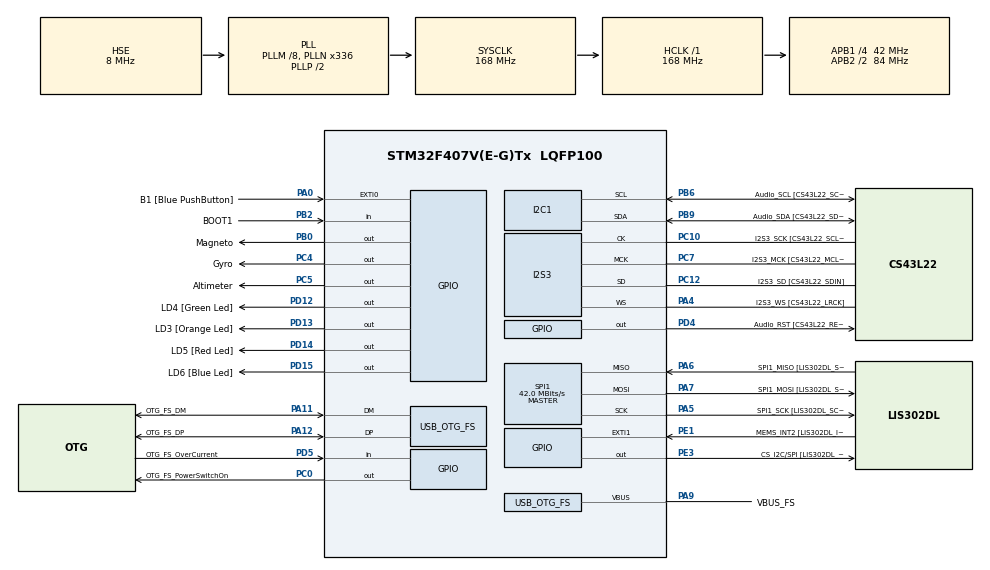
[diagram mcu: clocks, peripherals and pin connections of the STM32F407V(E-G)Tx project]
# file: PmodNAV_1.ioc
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I2S3.AudioFreq-Half_Duplex_Master=I2S_AUDIOFREQ_96K
I2S3.ErrorAudioFreq=-2.34 %
I2S3.ErrorAudioFreq-Half_Duplex_Master=0.8 %
I2S3.FullDuplexMode=I2S_FULLDUPLEXMODE_DISABLE
I2S3.Instance=SPI$Index
I2S3.RealAudioFreq=93.75 KHz
I2S3.RealAudioFreq-Half_Duplex_Master=96.774 KHz
I2S3.VirtualMode=I2S_MODE_MASTER
Mcu.Family=STM32F4
Mcu.Name=STM32F407V(E-G)Tx
Mcu.Package=LQFP100
NVIC.OTG_FS_IRQn=true\:0\:0\:false\:false\:true\:true\:true\:true
NVIC.PriorityGroup=NVIC_PRIORITYGROUP_0
PA0-WKUP.GPIO_Label=B1 [Blue PushButton]
PA0-WKUP.GPIO_ModeDefaultEXTI=GPIO_MODE_EVT_RISING
PA0-WKUP.GPIO_PuPd=GPIO_NOPULL
PA0-WKUP.Signal=GPXTI0
PA10.GPIO_Label=OTG_FS_ID
PA10.GPIO_Mode=GPIO_MODE_AF_PP
PA10.GPIO_PuPd=GPIO_NOPULL
PA10.GPIO_Speed=GPIO_SPEED_FREQ_LOW
PA10.Signal=USB_OTG_FS_ID
PA11.GPIO_Label=OTG_FS_DM
PA11.GPIO_Mode=GPIO_MODE_AF_PP
PA11.GPIO_PuPd=GPIO_NOPULL
PA11.GPIO_Speed=GPIO_SPEED_FREQ_LOW
PA11.Mode=Host_Only
PA11.Signal=USB_OTG_FS_DM
PA12.GPIO_Label=OTG_FS_DP
PA12.GPIO_Mode=GPIO_MODE_AF_PP
PA12.GPIO_PuPd=GPIO_NOPULL
PA12.GPIO_Speed=GPIO_SPEED_FREQ_LOW
PA12.Mode=Host_Only
PA12.Signal=USB_OTG_FS_DP
PA13.GPIO_Label=SWDIO
PA13.Mode=Serial_Wire
PA13.Signal=SYS_JTMS-SWDIO
PA14.GPIO_Label=SWCLK
PA14.Mode=Serial_Wire
PA14.Signal=SYS_JTCK-SWCLK
PA4.GPIO_Label=I2S3_WS [CS43L22_LRCK]
PA4.GPIO_Mode=GPIO_MODE_AF_PP
PA4.GPIO_PuPd=GPIO_NOPULL
PA4.GPIO_Speed=GPIO_SPEED_FREQ_LOW
PA4.Mode=Half_Duplex_Master
PA4.Signal=I2S3_WS
PA5.GPIO_Label=SPI1_SCK [LIS302DL_SCL/SPC]
PA5.GPIO_Mode=GPIO_MODE_AF_PP
PA5.GPIO_PuPd=GPIO_NOPULL
PA5.GPIO_Speed=GPIO_SPEED_FREQ_LOW
PA5.Mode=Full_Duplex_Master
PA5.Signal=SPI1_SCK
PA6.GPIO_Label=SPI1_MISO [LIS302DL_SDO]
PA6.GPIO_Mode=GPIO_MODE_AF_PP
PA6.GPIO_PuPd=GPIO_NOPULL
PA6.GPIO_Speed=GPIO_SPEED_FREQ_LOW
PA6.Mode=Full_Duplex_Master
PA6.Signal=SPI1_MISO
PA7.GPIO_Label=SPI1_MOSI [LIS302DL_SDA/SDI/SDO]
PA7.GPIO_Mode=GPIO_MODE_AF_PP
PA7.GPIO_PuPd=GPIO_NOPULL
PA7.GPIO_Speed=GPIO_SPEED_FREQ_LOW
PA7.Mode=Full_Duplex_Master
PA7.Signal=SPI1_MOSI
PA9.GPIO_Label=VBUS_FS
PA9.GPIO_Mode=GPIO_MODE_INPUT
PA9.GPIO_PuPd=GPIO_NOPULL
PA9.Mode=Activate_VBUS
PA9.Signal=USB_OTG_FS_VBUS
PB0.GPIO_Label=Magneto
PB0.Signal=GPIO_Output
PB10.GPIO_Label=CLK_IN [MP45DT02_CLK]
PB10.GPIO_Mode=GPIO_MODE_AF_PP
PB10.GPIO_PuPd=GPIO_NOPULL
PB10.GPIO_Speed=GPIO_SPEED_FREQ_LOW
PB10.Signal=I2S2_CK
PB2.GPIO_Label=BOOT1
PB2.GPIO_Mode=GPIO_MODE_INPUT
PB2.GPIO_PuPd=GPIO_NOPULL
PB2.Signal=GPIO_Input
PB3.GPIO_Label=SWO
PB3.Signal=SYS_JTDO-SWO
PB6.GPIO_Label=Audio_SCL [CS43L22_SCL]
PB6.GPIO_Mode=GPIO_MODE_AF_OD
PB6.GPIO_Pu=GPIO_PULLUP
PB6.GPIO_PuPd=GPIO_NOPULL
PB6.GPIO_Speed=GPIO_SPEED_FREQ_LOW
PB6.Mode=I2C
PB6.Signal=I2C1_SCL
PB9.GPIO_Label=Audio_SDA [CS43L22_SDA]
PB9.GPIO_Mode=GPIO_MODE_AF_OD
PB9.GPIO_Pu=GPIO_PULLUP
PB9.GPIO_PuPd=GPIO_NOPULL
PB9.GPIO_Speed=GPIO_SPEED_FREQ_LOW
PB9.Mode=I2C
PB9.Signal=I2C1_SDA
PC0.GPIO_Label=OTG_FS_PowerSwitchOn
PC0.GPIO_PuPd=GPIO_NOPULL
PC0.GPIO_Speed=GPIO_SPEED_FREQ_LOW
PC0.PinState=GPIO_PIN_SET
PC0.Signal=GPIO_Output
PC10.GPIO_Label=I2S3_SCK [CS43L22_SCLK]
PC10.GPIO_Mode=GPIO_MODE_AF_PP
PC10.GPIO_PuPd=GPIO_NOPULL
PC10.GPIO_Speed=GPIO_SPEED_FREQ_LOW
PC10.Mode=Half_Duplex_Master
PC10.Signal=I2S3_CK
PC12.GPIO_Label=I2S3_SD [CS43L22_SDIN]
PC12.GPIO_Mode=GPIO_MODE_AF_PP
PC12.GPIO_PuPd=GPIO_NOPULL
PC12.GPIO_Speed=GPIO_SPEED_FREQ_LOW
PC12.Mode=Half_Duplex_Master
PC12.Signal=I2S3_SD
PC14-OSC32_IN.GPIO_Label=PC14-OSC32_IN
PC14-OSC32_IN.Mode=LSE-External-Oscillator
PC14-OSC32_IN.Signal=RCC_OSC32_IN
PC15-OSC32_OUT.GPIO_Label=PC15-OSC32_OUT
PC15-OSC32_OUT.Mode=LSE-External-Oscillator
PC15-OSC32_OUT.Signal=RCC_OSC32_OUT
PC3.GPIO_Label=PDM_OUT [MP45DT02_DOUT]
PC3.GPIO_Mode=GPIO_MODE_AF_PP
PC3.GPIO_PuPd=GPIO_NOPULL
PC3.GPIO_Speed=GPIO_SPEED_FREQ_LOW
PC3.Signal=I2S2_SD
PC4.GPIO_Label=Gyro
PC4.Signal=GPIO_Output
PC5.GPIO_Label=Altimeter
PC5.Signal=GPIO_Output
PC7.GPIO_Label=I2S3_MCK [CS43L22_MCLK]
PC7.GPIO_Mode=GPIO_MODE_AF_PP
PC7.GPIO_PuPd=GPIO_NOPULL
PC7.GPIO_Speed=GPIO_SPEED_FREQ_LOW
PC7.Mode=Master_Clock_Activated
PC7.Signal=I2S3_MCK
PD12.GPIO_Label=LD4 [Green Led]
PD12.GPIO_PuPd=GPIO_NOPULL
PD12.GPIO_Speed=GPIO_SPEED_FREQ_LOW
PD12.Signal=GPIO_Output
PD13.GPIO_Label=LD3 [Orange Led]
PD13.GPIO_PuPd=GPIO_NOPULL
PD13.GPIO_Speed=GPIO_SPEED_FREQ_LOW
PD13.Signal=GPIO_Output
PD14.GPIO_Label=LD5 [Red Led]
PD14.GPIO_PuPd=GPIO_NOPULL
PD14.GPIO_Speed=GPIO_SPEED_FREQ_LOW
PD14.Signal=GPIO_Output
PD15.GPIO_Label=LD6 [Blue Led]
PD15.GPIO_PuPd=GPIO_NOPULL
PD15.GPIO_Speed=GPIO_SPEED_FREQ_LOW
PD15.Signal=GPIO_Output
PD4.GPIO_Label=Audio_RST [CS43L22_RESET]
PD4.GPIO_PuPd=GPIO_NOPULL
PD4.GPIO_Speed=GPIO_SPEED_FREQ_LOW
PD4.Signal=GPIO_Output
PD5.GPIO_Label=OTG_FS_OverCurrent
PD5.GPIO_Mode=GPIO_MODE_INPUT
PD5.GPIO_PuPd=GPIO_NOPULL
PD5.Signal=GPIO_Input
PE1.GPIO_Label=MEMS_INT2 [LIS302DL_INT2]
PE1.GPIO_ModeDefaultEXTI=GPIO_MODE_EVT_RISING
PE1.GPIO_PuPd=GPIO_NOPULL
PE1.Signal=GPXTI1
PE3.GPIO_Label=CS_I2C/SPI [LIS302DL_CS_I2C/SPI]
PE3.GPIO_PuPd=GPIO_NOPULL
PE3.GPIO_Speed=GPIO_SPEED_FREQ_LOW
PE3.Signal=GPIO_Output
PH0-OSC_IN.GPIO_Label=PH0-OSC_IN
PH0-OSC_IN.Mode=HSE-External-Oscillator
PH0-OSC_IN.Signal=RCC_OSC_IN
PH1-OSC_OUT.GPIO_Label=PH1-OSC_OUT
PH1-OSC_OUT.Mode=HSE-External-Oscillator
PH1-OSC_OUT.Signal=RCC_OSC_OUT
ProjectManager.HeapSize=0x200
ProjectManager.StackSize=0x400
ProjectManager.TargetToolchain=STM32CubeIDE
RCC.48MHZClocksFreq_Value=48000000
RCC.AHBFreq_Value=168000000
RCC.APB1CLKDivider=RCC_HCLK_DIV4
RCC.APB1Freq_Value=42000000
RCC.APB1TimFreq_Value=84000000
RCC.APB2CLKDivider=RCC_HCLK_DIV2
RCC.APB2Freq_Value=84000000
RCC.APB2TimFreq_Value=168000000
RCC.CortexFreq_Value=168000000
RCC.HCLKFreq_Value=168000000
RCC.HSE_VALUE=8000000
RCC.HSI_VALUE=16000000
RCC.PLLM=8
RCC.PLLN=336
RCC.PLLQ=7
RCC.SYSCLKFreq_VALUE=168000000
RCC.SYSCLKSource=RCC_SYSCLKSOURCE_PLLCLK
RCC.VCOOutputFreq_Value=336000000
SPI1.CLKPolarity=SPI_POLARITY_HIGH
SPI1.CalculateBaudRate=42.0 MBits/s
SPI1.Direction=SPI_DIRECTION_2LINES
SPI1.Mode=SPI_MODE_MASTER
SPI1.VirtualType=VM_MASTER
USB_HOST.BSP.number=1
USB_HOST.USBH_HandleTypeDef-CDC_FS=hUsbHostFS
USB_HOST.VirtualModeFS=Cdc
USB_HOST0.BSP.STBoard=false
USB_HOST0.BSP.api=Unknown
USB_HOST0.BSP.instance=PC0
USB_HOST0.BSP.ip=GPIO
USB_HOST0.BSP.mode=Output
USB_HOST0.BSP.name=Drive_VBUS_FS
USB_HOST0.BSP.solution=PC0
USB_OTG_FS.VirtualMode=Host_Only
USB_OTG_FS.phy_itface=HCD_PHY_EMBEDDED
VP_USB_HOST_VS_USB_HOST_CDC_FS.Mode=CDC_FS
board=STM32F407G-DISC1

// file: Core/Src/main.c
/* USER CODE BEGIN Header */
/**
  ******************************************************************************
  * @file           : main.c
  * @brief          : Main program body
  ******************************************************************************
  * @attention
  *
  * Copyright (c) 2023 STMicroelectronics.
  * All rights reserved.
  *
  * This software is licensed under terms that can be found in the LICENSE file
  * in the root directory of this software component.
  * If no LICENSE file comes with this software, it is provided AS-IS.
  *
  ******************************************************************************
  */
/* USER CODE END Header */
#include "main.h"
#include "usb_host.h"

/* USER CODE BEGIN PTD */
#define Gyro_pin GPIO_PIN_4
#define Gyro_GPIO_Port GPIOC
/* USER CODE END PTD */

/* USER CODE BEGIN PD */
#define DECLINATION -5.55
#define PRINT_CALCULATED
/* USER CODE END PD */

/* USER CODE BEGIN PM */
#define LSM9DS1_AG 0x6B
/* USER CODE END PM */

I2C_HandleTypeDef hi2c1;

I2S_HandleTypeDef hi2s3;

SPI_HandleTypeDef hspi1;

void SystemClock_Config(void);
static void MX_GPIO_Init(void);
static void MX_I2C1_Init(void);
static void MX_I2S3_Init(void);
static void MX_SPI1_Init(void);
void MX_USB_HOST_Process(void);

/* USER CODE BEGIN 0 */
#define BufSize 1000
#define Overlap 100

int Buf[BufSize];

int WtrP;
float Rd_P;
float Shift;
float CrossFade;
float a0, a1, a2, b1, b2, hp_in_z1, hp_in_z2, hp_out_z1, hp_out_z2;

uint16_t rxBuf[8];
uint16_t txBuf[8];

/* USER CODE END 0 */

int main(void)
{

  /* MCU Configuration--------------------------------------------------------*/

  /* Reset of all peripherals, Initializes the Flash interface and the Systick. */
  HAL_Init();

  /* Configure the system clock */
  SystemClock_Config();

  /* Initialize all configured peripherals */
  MX_GPIO_Init();
  MX_I2C1_Init();
  MX_I2S3_Init();
  MX_SPI1_Init();
  MX_USB_HOST_Init();
  /* USER CODE BEGIN 2 */
  HAL_I2SEx_TransmitReceive_DMA (&hi2s3, txBuf, rxBuf, 4);

  	//0°
  	WtrP = 0;

  	Rd_P = 0.0f;
  	Shift = 1.4f;
  	CrossFade = 1.0f;
  /* USER CODE END 2 */

  /* Infinite loop */
  while (1)
  {
    MX_USB_HOST_Process();

    /* USER CODE BEGIN 3 */
    Do_HighPass (3);
    Do_PitchShift(5, 0);

  }
  /* USER CODE END 3 */
}

void SystemClock_Config(void)
{
  RCC_OscInitTypeDef RCC_OscInitStruct = {0};
  RCC_ClkInitTypeDef RCC_ClkInitStruct = {0};

  /** Configure the main internal regulator output voltage
  */
  __HAL_RCC_PWR_CLK_ENABLE();
  __HAL_PWR_VOLTAGESCALING_CONFIG(PWR_REGULATOR_VOLTAGE_SCALE1);

  /** Initializes the RCC Oscillators according to the specified parameters
  * in the RCC_OscInitTypeDef structure.
  */
  RCC_OscInitStruct.OscillatorType = RCC_OSCILLATORTYPE_HSE;
  RCC_OscInitStruct.HSEState = RCC_HSE_ON;
  RCC_OscInitStruct.PLL.PLLState = RCC_PLL_ON;
  RCC_OscInitStruct.PLL.PLLSource = RCC_PLLSOURCE_HSE;
  RCC_OscInitStruct.PLL.PLLM = 8;
  RCC_OscInitStruct.PLL.PLLN = 336;
  RCC_OscInitStruct.PLL.PLLP = RCC_PLLP_DIV2;
  RCC_OscInitStruct.PLL.PLLQ = 7;
  if (HAL_RCC_OscConfig(&RCC_OscInitStruct) != HAL_OK)
  {
    Error_Handler();
  }

  /** Initializes the CPU, AHB and APB buses clocks
  */
  RCC_ClkInitStruct.ClockType = RCC_CLOCKTYPE_HCLK|RCC_CLOCKTYPE_SYSCLK
                              |RCC_CLOCKTYPE_PCLK1|RCC_CLOCKTYPE_PCLK2;
  RCC_ClkInitStruct.SYSCLKSource = RCC_SYSCLKSOURCE_PLLCLK;
  RCC_ClkInitStruct.AHBCLKDivider = RCC_SYSCLK_DIV1;
  RCC_ClkInitStruct.APB1CLKDivider = RCC_HCLK_DIV4;
  RCC_ClkInitStruct.APB2CLKDivider = RCC_HCLK_DIV2;

  if (HAL_RCC_ClockConfig(&RCC_ClkInitStruct, FLASH_LATENCY_5) != HAL_OK)
  {
    Error_Handler();
  }
}

static void MX_I2C1_Init(void)
{

  hi2c1.Instance = I2C1;
  hi2c1.Init.ClockSpeed = 100000;
  hi2c1.Init.DutyCycle = I2C_DUTYCYCLE_2;
  hi2c1.Init.OwnAddress1 = 0;
  hi2c1.Init.AddressingMode = I2C_ADDRESSINGMODE_7BIT;
  hi2c1.Init.DualAddressMode = I2C_DUALADDRESS_DISABLE;
  hi2c1.Init.OwnAddress2 = 0;
  hi2c1.Init.GeneralCallMode = I2C_GENERALCALL_DISABLE;
  hi2c1.Init.NoStretchMode = I2C_NOSTRETCH_DISABLE;
  if (HAL_I2C_Init(&hi2c1) != HAL_OK)
  {
    Error_Handler();
  }

}

static void MX_I2S3_Init(void)
{

  hi2s3.Instance = SPI3;
  hi2s3.Init.Mode = I2S_MODE_MASTER_TX;
  hi2s3.Init.Standard = I2S_STANDARD_PHILIPS;
  hi2s3.Init.DataFormat = I2S_DATAFORMAT_16B;
  hi2s3.Init.MCLKOutput = I2S_MCLKOUTPUT_ENABLE;
  hi2s3.Init.AudioFreq = I2S_AUDIOFREQ_96K;
  hi2s3.Init.CPOL = I2S_CPOL_LOW;
  hi2s3.Init.ClockSource = I2S_CLOCK_PLL;
  hi2s3.Init.FullDuplexMode = I2S_FULLDUPLEXMODE_DISABLE;
  if (HAL_I2S_Init(&hi2s3) != HAL_OK)
  {
    Error_Handler();
  }

}

static void MX_SPI1_Init(void)
{

  /* SPI1 parameter configuration*/
  hspi1.Instance = SPI1;
  hspi1.Init.Mode = SPI_MODE_MASTER;
  hspi1.Init.Direction = SPI_DIRECTION_2LINES;
  hspi1.Init.DataSize = SPI_DATASIZE_8BIT;
  hspi1.Init.CLKPolarity = SPI_POLARITY_HIGH;
  hspi1.Init.CLKPhase = SPI_PHASE_1EDGE;
  hspi1.Init.NSS = SPI_NSS_SOFT;
  hspi1.Init.BaudRatePrescaler = SPI_BAUDRATEPRESCALER_2;
  hspi1.Init.FirstBit = SPI_FIRSTBIT_MSB;
  hspi1.Init.TIMode = SPI_TIMODE_DISABLE;
  hspi1.Init.CRCCalculation = SPI_CRCCALCULATION_DISABLE;
  hspi1.Init.CRCPolynomial = 10;
  if (HAL_SPI_Init(&hspi1) != HAL_OK)
  {
    Error_Handler();
  }

}

static void MX_GPIO_Init(void)
{
  GPIO_InitTypeDef GPIO_InitStruct = {0};

  /* GPIO Ports Clock Enable */
  __HAL_RCC_GPIOE_CLK_ENABLE();
  __HAL_RCC_GPIOC_CLK_ENABLE();
  __HAL_RCC_GPIOH_CLK_ENABLE();
  __HAL_RCC_GPIOA_CLK_ENABLE();
  __HAL_RCC_GPIOB_CLK_ENABLE();
  __HAL_RCC_GPIOD_CLK_ENABLE();

  /*Configure GPIO pin Output Level */
  HAL_GPIO_WritePin(CS_I2C_SPI_GPIO_Port, CS_I2C_SPI_Pin, GPIO_PIN_RESET);

  /*Configure GPIO pin Output Level */
  HAL_GPIO_WritePin(OTG_FS_PowerSwitchOn_GPIO_Port, OTG_FS_PowerSwitchOn_Pin, GPIO_PIN_SET);

  /*Configure GPIO pin Output Level */
  HAL_GPIO_WritePin(GPIOC, Gyro_Pin|Altimeter_Pin, GPIO_PIN_RESET);

  /*Configure GPIO pin Output Level */
  HAL_GPIO_WritePin(Magneto_GPIO_Port, Magneto_Pin, GPIO_PIN_RESET);

  /*Configure GPIO pin Output Level */
  HAL_GPIO_WritePin(GPIOD, LD4_Pin|LD3_Pin|LD5_Pin|LD6_Pin
                          |Audio_RST_Pin, GPIO_PIN_RESET);

  /*Configure GPIO pin : CS_I2C_SPI_Pin */
  GPIO_InitStruct.Pin = CS_I2C_SPI_Pin;
  GPIO_InitStruct.Mode = GPIO_MODE_OUTPUT_PP;
  GPIO_InitStruct.Pull = GPIO_NOPULL;
  GPIO_InitStruct.Speed = GPIO_SPEED_FREQ_LOW;
  HAL_GPIO_Init(CS_I2C_SPI_GPIO_Port, &GPIO_InitStruct);

  /*Configure GPIO pins : OTG_FS_PowerSwitchOn_Pin Gyro_Pin Altimeter_Pin */
  GPIO_InitStruct.Pin = OTG_FS_PowerSwitchOn_Pin|Gyro_Pin|Altimeter_Pin;
  GPIO_InitStruct.Mode = GPIO_MODE_OUTPUT_PP;
  GPIO_InitStruct.Pull = GPIO_NOPULL;
  GPIO_InitStruct.Speed = GPIO_SPEED_FREQ_LOW;
  HAL_GPIO_Init(GPIOC, &GPIO_InitStruct);

  /*Configure GPIO pin : PDM_OUT_Pin */
  GPIO_InitStruct.Pin = PDM_OUT_Pin;
  GPIO_InitStruct.Mode = GPIO_MODE_AF_PP;
  GPIO_InitStruct.Pull = GPIO_NOPULL;
  GPIO_InitStruct.Speed = GPIO_SPEED_FREQ_LOW;
  GPIO_InitStruct.Alternate = GPIO_AF5_SPI2;
  HAL_GPIO_Init(PDM_OUT_GPIO_Port, &GPIO_InitStruct);

  /*Configure GPIO pin : B1_Pin */
  GPIO_InitStruct.Pin = B1_Pin;
  GPIO_InitStruct.Mode = GPIO_MODE_EVT_RISING;
  GPIO_InitStruct.Pull = GPIO_NOPULL;
  HAL_GPIO_Init(B1_GPIO_Port, &GPIO_InitStruct);

  /*Configure GPIO pin : Magneto_Pin */
  GPIO_InitStruct.Pin = Magneto_Pin;
  GPIO_InitStruct.Mode = GPIO_MODE_OUTPUT_PP;
  GPIO_InitStruct.Pull = GPIO_NOPULL;
  GPIO_InitStruct.Speed = GPIO_SPEED_FREQ_LOW;
  HAL_GPIO_Init(Magneto_GPIO_Port, &GPIO_InitStruct);

  /*Configure GPIO pin : BOOT1_Pin */
  GPIO_InitStruct.Pin = BOOT1_Pin;
  GPIO_InitStruct.Mode = GPIO_MODE_INPUT;
  GPIO_InitStruct.Pull = GPIO_NOPULL;
  HAL_GPIO_Init(BOOT1_GPIO_Port, &GPIO_InitStruct);

  /*Configure GPIO pin : CLK_IN_Pin */
  GPIO_InitStruct.Pin = CLK_IN_Pin;
  GPIO_InitStruct.Mode = GPIO_MODE_AF_PP;
  GPIO_InitStruct.Pull = GPIO_NOPULL;
  GPIO_InitStruct.Speed = GPIO_SPEED_FREQ_LOW;
  GPIO_InitStruct.Alternate = GPIO_AF5_SPI2;
  HAL_GPIO_Init(CLK_IN_GPIO_Port, &GPIO_InitStruct);

  /*Configure GPIO pins : LD4_Pin LD3_Pin LD5_Pin LD6_Pin
                           Audio_RST_Pin */
  GPIO_InitStruct.Pin = LD4_Pin|LD3_Pin|LD5_Pin|LD6_Pin
                          |Audio_RST_Pin;
  GPIO_InitStruct.Mode = GPIO_MODE_OUTPUT_PP;
  GPIO_InitStruct.Pull = GPIO_NOPULL;
  GPIO_InitStruct.Speed = GPIO_SPEED_FREQ_LOW;
  HAL_GPIO_Init(GPIOD, &GPIO_InitStruct);

  /*Configure GPIO pin : OTG_FS_OverCurrent_Pin */
  GPIO_InitStruct.Pin = OTG_FS_OverCurrent_Pin;
  GPIO_InitStruct.Mode = GPIO_MODE_INPUT;
  GPIO_InitStruct.Pull = GPIO_NOPULL;
  HAL_GPIO_Init(OTG_FS_OverCurrent_GPIO_Port, &GPIO_InitStruct);

  /*Configure GPIO pin : MEMS_INT2_Pin */
  GPIO_InitStruct.Pin = MEMS_INT2_Pin;
  GPIO_InitStruct.Mode = GPIO_MODE_EVT_RISING;
  GPIO_InitStruct.Pull = GPIO_NOPULL;
  HAL_GPIO_Init(MEMS_INT2_GPIO_Port, &GPIO_InitStruct);

}

/* USER CODE BEGIN 4 */
int Do_HighPass (int inSample) {
	//300Hz high-pass, 96k
	a0 = 0.9862117951198142f;
	a1 = -1.9724235902396283f;
	a2 = 0.9862117951198142f;
	b1 = -1.972233470205696f;
	b2 = 0.9726137102735608f;

	float inSampleF = (float)inSample;
	float outSampleF =
			a0 * inSampleF
			+ a1 * hp_in_z1
			+ a2 * hp_in_z2
			- b1 * hp_out_z1
			- b2 * hp_out_z2;
	hp_in_z2 = hp_in_z1;
	hp_in_z1 = inSampleF;
	hp_out_z2 = hp_out_z1;
	hp_out_z1 = outSampleF;

	return (int) outSampleF;
}
int Do_PitchShift(int lSample, int rSample) {
	int sum = lSample + rSample;
	//sum up and do high-pass
	sum=Do_HighPass(sum);

	//write to ringbuffer
	Buf[WtrP] = sum;

	//read fractional readpointer and generate 0° and 180° read-pointer in integer
	int RdPtr_Int = roundf(Rd_P);
	int RdPtr_Int2 = 0;
	if (RdPtr_Int >= BufSize/2) RdPtr_Int2 = RdPtr_Int - (BufSize/2);
	else RdPtr_Int2 = RdPtr_Int + (BufSize/2);

	//read the two samples...
	float Rd0 = (float) Buf[RdPtr_Int];
	float Rd1 = (float) Buf[RdPtr_Int2];

	//Check if first readpointer starts overlap with write pointer?
	// if yes -> do cross-fade to second read-pointer
	if (Overlap >= (WtrP-RdPtr_Int) && (WtrP-RdPtr_Int) >= 0 && Shift!=1.0f) {
		int rel = WtrP-RdPtr_Int;
		CrossFade = ((float)rel)/(float)Overlap;
	}
	else if (WtrP-RdPtr_Int == 0) CrossFade = 0.0f;

	//Check if second readpointer starts overlap with write pointer?
	// if yes -> do cross-fade to first read-pointer
	if (Overlap >= (WtrP-RdPtr_Int2) && (WtrP-RdPtr_Int2) >= 0 && Shift!=1.0f) {
			int rel = WtrP-RdPtr_Int2;
			CrossFade = 1.0f - ((float)rel)/(float)Overlap;
		}
	else if (WtrP-RdPtr_Int2 == 0) CrossFade = 1.0f;

	//do cross-fading and sum up
	sum = (Rd0*CrossFade + Rd1*(1.0f-CrossFade));

	//increment fractional read-pointer and write-pointer
	Rd_P += Shift;
	WtrP++;
	if (WtrP == BufSize) WtrP = 0;
	if (roundf(Rd_P) >= BufSize) Rd_P = 0.0f;

	return sum;

}
void HAL_I2SEx_TxRxHalfCpltCallback(I2S_HandleTypeDef *hi2s){

	//restore signed 24 bit sample from 16-bit buffers
	int lSample = (int) (rxBuf[0]<<16)|rxBuf[1];
	int rSample = (int) (rxBuf[2]<<16)|rxBuf[3];

	int ret_sample = Do_PitchShift(lSample, rSample);
	lSample = ret_sample;
	rSample = ret_sample;

	//restore to buffer
	txBuf[0] = (lSample>>16)&0xFFFF;
	txBuf[1] = lSample&0xFFFF;
	txBuf[2] = (rSample>>16)&0xFFFF;
	txBuf[3] = rSample&0xFFFF;
}

void HAL_I2SEx_TxRxCpltCallback(I2S_HandleTypeDef *hi2s){

	//restore signed 24 bit sample from 16-bit buffers
	int lSample = (int) (rxBuf[4]<<16)|rxBuf[5];
	int rSample = (int) (rxBuf[6]<<16)|rxBuf[7];

	int ret_sample = Do_PitchShift(lSample, rSample);
	lSample = ret_sample;
	rSample = ret_sample;

	//restore to buffer
	txBuf[4] = (lSample>>16)&0xFFFF;
	txBuf[5] = lSample&0xFFFF;
	txBuf[6] = (rSample>>16)&0xFFFF;
	txBuf[7] = rSample&0xFFFF;
}
/* USER CODE END 4 */

void Error_Handler(void)
{
  __disable_irq();
  while (1)
  {
  }
}
